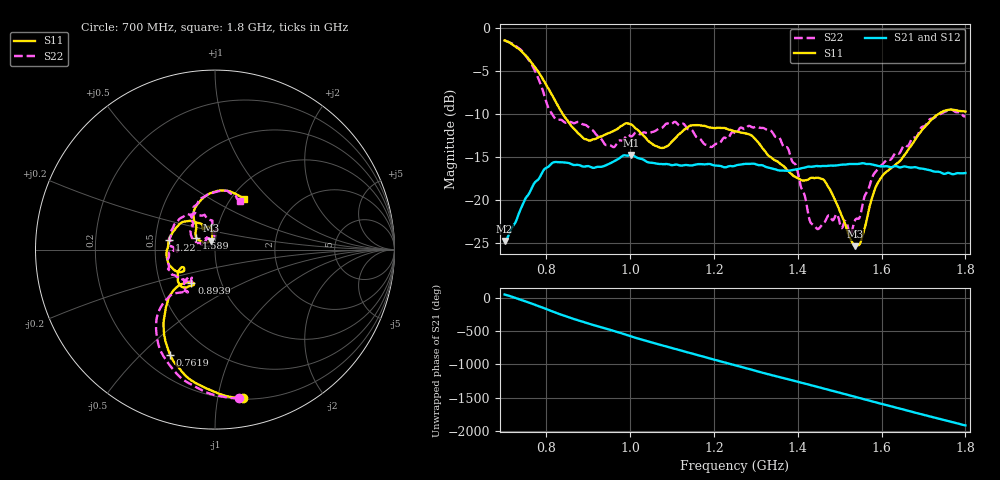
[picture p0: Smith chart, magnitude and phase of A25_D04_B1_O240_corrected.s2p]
! Created with skrf 1.9.0 (http://scikit-rf.org).
# Hz S RI R 50.0
!freq ReS11 ImS11 ReS21 ImS21 ReS12 ImS12 ReS22 ImS22
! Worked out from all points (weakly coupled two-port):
!   1601 points, 700 MHz to 1.8 GHz, reference 50 ohm
!   highest |S21| = -14.76 dB at 1.002 GHz (marker M1); lowest = -24.7 dB at 700 MHz (marker M2)
!   lowest |S11| = -25.3 dB at 1.536 GHz (marker M3), VSWR 1.11, Z = 47.5 + j4.68 ohm
!   |S11| at or under -10 dB: 838.2 MHz to 1.736 GHz (897.9 MHz wide, 69.8 % of centre)
!   |S22| runs from -24.0 to -1.5 dB; largest |S21 - S12| = 0.0033
!   S11 on the Smith chart (normalised r, x): 700 MHz: 0.21, -1.19; 761.9 MHz: 0.31, -0.61; 893.9 MHz: 0.72, -0.28; 1.22 GHz: 0.59, +0.07; 1.589 GHz: 0.81, +0.11; 1.8 GHz: 1.14, +0.72
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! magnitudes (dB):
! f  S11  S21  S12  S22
! 700 MHz  -1.5  -24.7  -24.5  -1.5
! 761.9 MHz  -3.9  -18.9  -18.8  -4.1
! 818.9 MHz  -8.3  -15.6  -15.7  -10.4
! 883.6 MHz  -12.6  -16.0  -15.9  -11.1
! 893.9 MHz  -12.9  -16.1  -16.2  -11.3
! 957.8 MHz  -12.0  -15.6  -15.6  -13.8
! 1.002 GHz  -11.2  -14.8  -14.9  -12.6
! 1.067 GHz  -13.8  -15.8  -15.7  -11.7
! 1.145 GHz  -11.3  -16.0  -16.0  -11.8
! 1.22 GHz  -11.6  -16.1  -16.1  -13.0
! 1.25 GHz  -12.0  -16.0  -16.0  -12.2
! 1.356 GHz  -15.7  -16.6  -16.5  -12.8
! 1.396 GHz  -17.3  -16.4  -16.4  -16.0
! 1.434 GHz  -17.4  -16.1  -16.1  -22.8
! 1.469 GHz  -18.1  -16.0  -16.0  -22.1
! 1.525 GHz  -24.4  -15.8  -15.8  -24.0
! 1.536 GHz  -25.3  -15.8  -15.8  -22.4
! 1.551 GHz  -24.7  -15.7  -15.8  -21.3
! 1.589 GHz  -18.2  -16.0  -16.0  -16.5
! 1.617 GHz  -16.5  -16.1  -16.1  -15.3
! 1.731 GHz  -10.2  -16.7  -16.7  -10.2
! 1.8 GHz  -9.7  -16.9  -16.9  -10.3
